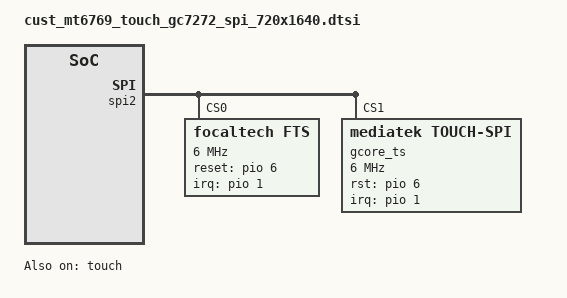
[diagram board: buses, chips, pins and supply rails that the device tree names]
/* SPDX-License-Identifier: GPL-2.0 */
/*
 * Copyright (c) 2019 MediaTek Inc.
*/

/* TOUCH start */
&pio{
	spi_pins_0:spi0@1{
		pins_cmd_dat{
			pinmux = <PINMUX_GPIO28__FUNC_SPI2_MI>,
				<PINMUX_GPIO26__FUNC_SPI2_MO>,
				<PINMUX_GPIO27__FUNC_SPI2_CLK>,
				<PINMUX_GPIO25__FUNC_SPI2_CSB>;
				bias-disable;
		};
	};
};
&spi2 {
	#address-cells = <1>;
	#size-cells = <0>;
	pinctrl-names = "default";
	pinctrl-0 = <&spi_pins_0>;
	status = "okay";

    focaltech:focaltech {
        compatible = "focaltech,fts";
        reg = <0>;
        spi-max-frequency = <6000000>;
        interrupt-parent = <&pio>;
        interrupts = <1 IRQ_TYPE_EDGE_FALLING 1 0>;
        focaltech,reset-gpio = <&pio 6 0>;
        focaltech,irq-gpio = <&pio 1 0>;
       // vdd-supply = <&mt6358_vio28_reg>;
	//	focaltech,pwr-gpio = <&pio 34 0>;
	//	focaltech,pwrvtp-gpio = <&pio 136 0>;
        focaltech,max-touch-number = <10>;
        focaltech,display-coords =  <0 0 720 1640>;
        status = "okay";
    };


	gcore_ts:gcore_ts {
		compatible = "mediatek,touch-spi";
		reg = <1>;
		spi-max-frequency = <6000000>;
        interrupt-parent = <&pio>;
        interrupts = <1 IRQ_TYPE_EDGE_FALLING 1 0>;
		gcore,rst-gpio = <&pio 6 0>;
		gcore,irq-gpio = <&pio 1 0>;
		status = "okay";
	};

   
    
    
};
&touch {
	tpd-resolution = <720 1640>;
	use-tpd-button = <0>;
	tpd-key-num = <3>;
	tpd-key-local= <139 172 158 0>;
	tpd-key-dim-local = <90 883 100 40 230 883
				100 40 370 883 100 40 0 0 0 0>;
	tpd-max-touch-num = <10>;
	tpd-filter-enable = <1>;
	tpd-filter-pixel-density = <106>;
	tpd-filter-custom-prameters = <0 0 0 0 0 0 0 0 0 0 0 0>;
	tpd-filter-custom-speed = <0 0 0>;
	pinctrl-names = "default", "state_eint_as_int",
		"state_eint_output0", "state_eint_output1",
		"state_rst_output0", "state_rst_output1";
	pinctrl-0 = <&ctp_pins_default>;
	pinctrl-1 = <&ctp_pins_eint_as_int>;
	pinctrl-2 = <&ctp_pins_eint_output0>;
	pinctrl-3 = <&ctp_pins_eint_output1>;
	pinctrl-4 = <&ctp_pins_rst_output0>;
	pinctrl-5 = <&ctp_pins_rst_output1>;
	status = "okay";
};
&pio {
	ctp_pins_default: eint0default {
	};
	ctp_pins_eint_as_int: eint1touch@0 {
		pins_cmd_dat {
			pinmux = <PINMUX_GPIO1__FUNC_GPIO1>;
			slew-rate = <0>;
			bias-disable;
		};
	};
	ctp_pins_eint_output0: eintoutput0 {
		pins_cmd_dat {
			pinmux = <PINMUX_GPIO1__FUNC_GPIO1>;
			slew-rate = <1>;
			output-low;
		};
	};
	ctp_pins_eint_output1: eintoutput1 {
		pins_cmd_dat {
			pinmux = <PINMUX_GPIO1__FUNC_GPIO1>;
			slew-rate = <1>;
			output-high;
		};
	};
	ctp_pins_rst_output0: rstoutput0 {
		pins_cmd_dat {
			pinmux = <PINMUX_GPIO6__FUNC_GPIO6>;
			slew-rate = <1>;
			output-low;
		};
	};
	ctp_pins_rst_output1: rstoutput1 {
		pins_cmd_dat {
			pinmux = <PINMUX_GPIO6__FUNC_GPIO6>;
			slew-rate = <1>;
			output-high;
		};
	};
};
/* TOUCH end */
